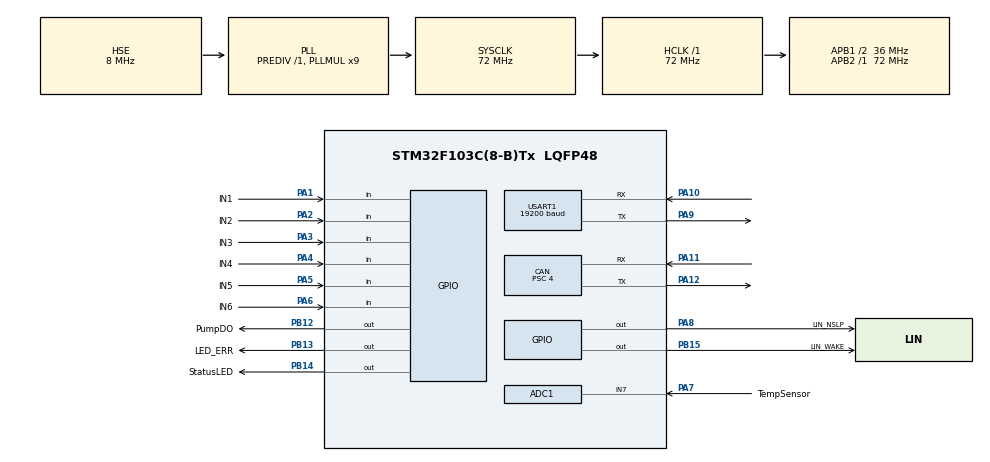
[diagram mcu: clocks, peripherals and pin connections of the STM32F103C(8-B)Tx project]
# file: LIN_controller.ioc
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ADC1.Channel-1\#ChannelRegularConversion=ADC_CHANNEL_7
ADC1.NbrOfConversion=1
ADC1.NbrOfConversionFlag=1
ADC1.Rank-1\#ChannelRegularConversion=1
ADC1.SamplingTime-1\#ChannelRegularConversion=ADC_SAMPLETIME_239CYCLES_5
ADC1.master=1
CAN.BS1=CAN_BS1_15TQ
CAN.BS2=CAN_BS2_2TQ
CAN.CalculateBaudRate=500000
CAN.CalculateTimeBit=2000
CAN.CalculateTimeQuantum=111.11111111111111
CAN.Prescaler=4
Mcu.Family=STM32F1
Mcu.Name=STM32F103C(8-B)Tx
Mcu.Package=LQFP48
NVIC.PriorityGroup=NVIC_PRIORITYGROUP_4
NVIC.USART1_IRQn=true\:0\:0\:false\:false\:true\:true\:true\:true
PA1.GPIO_Label=IN1
PA1.Signal=GPIO_Input
PA10.Mode=LIN
PA10.Signal=USART1_RX
PA11.Mode=CAN_Activate
PA11.Signal=CAN_RX
PA12.Mode=CAN_Activate
PA12.Signal=CAN_TX
PA13.Mode=Serial_Wire
PA13.Signal=SYS_JTMS-SWDIO
PA14.Mode=Serial_Wire
PA14.Signal=SYS_JTCK-SWCLK
PA2.GPIO_Label=IN2
PA2.Signal=GPIO_Input
PA3.GPIO_Label=IN3
PA3.Signal=GPIO_Input
PA4.GPIO_Label=IN4
PA4.Signal=GPIO_Input
PA5.GPIO_Label=IN5
PA5.Signal=GPIO_Input
PA6.GPIO_Label=IN6
PA6.Signal=GPIO_Input
PA7.GPIO_Label=TempSensor
PA7.Signal=ADCx_IN7
PA8.GPIO_Label=LIN_NSLP
PA8.Signal=GPIO_Output
PA9.Mode=LIN
PA9.Signal=USART1_TX
PB12.GPIO_Label=PumpDO
PB12.Signal=GPIO_Output
PB13.GPIO_Label=LED_ERR
PB13.Signal=GPIO_Output
PB14.GPIO_Label=StatusLED
PB14.Signal=GPIO_Output
PB15.GPIO_Label=LIN_WAKE
PB15.Signal=GPIO_Output
PD0-OSC_IN.Mode=HSE-External-Oscillator
PD0-OSC_IN.Signal=RCC_OSC_IN
PD1-OSC_OUT.Mode=HSE-External-Oscillator
PD1-OSC_OUT.Signal=RCC_OSC_OUT
ProjectManager.HeapSize=0x200
ProjectManager.StackSize=0x400
ProjectManager.TargetToolchain=STM32CubeIDE
RCC.ADCPresc=RCC_ADCPCLK2_DIV6
RCC.AHBFreq_Value=72000000
RCC.APB1CLKDivider=RCC_HCLK_DIV2
RCC.APB1Freq_Value=36000000
RCC.APB1TimFreq_Value=72000000
RCC.APB2Freq_Value=72000000
RCC.APB2TimFreq_Value=72000000
RCC.HCLKFreq_Value=72000000
RCC.PLLMUL=RCC_PLL_MUL9
RCC.PLLSourceVirtual=RCC_PLLSOURCE_HSE
RCC.SYSCLKFreq_VALUE=72000000
RCC.SYSCLKSource=RCC_SYSCLKSOURCE_PLLCLK
RCC.USBFreq_Value=72000000
SH.ADCx_IN7.0=ADC1_IN7,IN7
USART1.BaudRate=19200
USART1.VirtualMode=VM_ASYNC
board=custom

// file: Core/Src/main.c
/* USER CODE BEGIN Header */
/**
  ******************************************************************************
  * @file           : main.c
  * @brief          : Main program body
  ******************************************************************************
  * @attention
  *
  * Copyright (c) 2026 STMicroelectronics.
  * All rights reserved.
  *
  * This software is licensed under terms that can be found in the LICENSE file
  * in the root directory of this software component.
  * If no LICENSE file comes with this software, it is provided AS-IS.
  *
  ******************************************************************************
  */
/* USER CODE END Header */
#include "main.h"

/* USER CODE BEGIN Includes */
#include "app_io.h"
#include "ntc_sensor.h"
#include "ptc_heater.h"
#include "temp_controller.h"
/* USER CODE END Includes */

ADC_HandleTypeDef hadc1;

CAN_HandleTypeDef hcan;

UART_HandleTypeDef huart1;

void SystemClock_Config(void);
static void MX_GPIO_Init(void);
static void MX_ADC1_Init(void);
static void MX_CAN_Init(void);
static void MX_USART1_UART_Init(void);

int main(void)
{

  /* MCU Configuration--------------------------------------------------------*/

  /* Reset of all peripherals, Initializes the Flash interface and the Systick. */
  HAL_Init();

  /* Configure the system clock */
  SystemClock_Config();

  /* Initialize all configured peripherals */
  MX_GPIO_Init();
  MX_ADC1_Init();
  MX_CAN_Init();
  MX_USART1_UART_Init();
  /* USER CODE BEGIN 2 */
  IO_Init();
  NTC_Init(&hadc1);
  PTC_Init(&huart1);
  TempCtrl_Init();

  // Activeer de RXNE interrupt (elke byte genereert nu een interrupt)
  __HAL_UART_ENABLE_IT(&huart1, UART_IT_RXNE);
  /* USER CODE END 2 */

  /* Infinite loop */
  /* USER CODE BEGIN WHILE */
  while (1)
  {
	  IO_Update();       // Leest IN1..6, stuurt Pomp en LEDs aan
	  NTC_Update();      // Leest ADC1 en berekent NTC temperatuur
	  PTC_Update();      // Verstuurt en ontvangt LIN frames (elke 50ms)
	  TempCtrl_Update(); // P-Regelaar en systeemlogica (elke 100ms)
    /* USER CODE END WHILE */

  }
}

void SystemClock_Config(void)
{
  RCC_OscInitTypeDef RCC_OscInitStruct = {0};
  RCC_ClkInitTypeDef RCC_ClkInitStruct = {0};
  RCC_PeriphCLKInitTypeDef PeriphClkInit = {0};

  /** Initializes the RCC Oscillators according to the specified parameters
  * in the RCC_OscInitTypeDef structure.
  */
  RCC_OscInitStruct.OscillatorType = RCC_OSCILLATORTYPE_HSE;
  RCC_OscInitStruct.HSEState = RCC_HSE_ON;
  RCC_OscInitStruct.HSEPredivValue = RCC_HSE_PREDIV_DIV1;
  RCC_OscInitStruct.HSIState = RCC_HSI_ON;
  RCC_OscInitStruct.PLL.PLLState = RCC_PLL_ON;
  RCC_OscInitStruct.PLL.PLLSource = RCC_PLLSOURCE_HSE;
  RCC_OscInitStruct.PLL.PLLMUL = RCC_PLL_MUL9;
  if (HAL_RCC_OscConfig(&RCC_OscInitStruct) != HAL_OK)
  {
    Error_Handler();
  }

  /** Initializes the CPU, AHB and APB buses clocks
  */
  RCC_ClkInitStruct.ClockType = RCC_CLOCKTYPE_HCLK|RCC_CLOCKTYPE_SYSCLK
                              |RCC_CLOCKTYPE_PCLK1|RCC_CLOCKTYPE_PCLK2;
  RCC_ClkInitStruct.SYSCLKSource = RCC_SYSCLKSOURCE_PLLCLK;
  RCC_ClkInitStruct.AHBCLKDivider = RCC_SYSCLK_DIV1;
  RCC_ClkInitStruct.APB1CLKDivider = RCC_HCLK_DIV2;
  RCC_ClkInitStruct.APB2CLKDivider = RCC_HCLK_DIV1;

  if (HAL_RCC_ClockConfig(&RCC_ClkInitStruct, FLASH_LATENCY_2) != HAL_OK)
  {
    Error_Handler();
  }
  PeriphClkInit.PeriphClockSelection = RCC_PERIPHCLK_ADC;
  PeriphClkInit.AdcClockSelection = RCC_ADCPCLK2_DIV6;
  if (HAL_RCCEx_PeriphCLKConfig(&PeriphClkInit) != HAL_OK)
  {
    Error_Handler();
  }
}

static void MX_ADC1_Init(void)
{

  ADC_ChannelConfTypeDef sConfig = {0};

  /** Common config
  */
  hadc1.Instance = ADC1;
  hadc1.Init.ScanConvMode = ADC_SCAN_DISABLE;
  hadc1.Init.ContinuousConvMode = DISABLE;
  hadc1.Init.DiscontinuousConvMode = DISABLE;
  hadc1.Init.ExternalTrigConv = ADC_SOFTWARE_START;
  hadc1.Init.DataAlign = ADC_DATAALIGN_RIGHT;
  hadc1.Init.NbrOfConversion = 1;
  if (HAL_ADC_Init(&hadc1) != HAL_OK)
  {
    Error_Handler();
  }

  /** Configure Regular Channel
  */
  sConfig.Channel = ADC_CHANNEL_7;
  sConfig.Rank = ADC_REGULAR_RANK_1;
  sConfig.SamplingTime = ADC_SAMPLETIME_239CYCLES_5;
  if (HAL_ADC_ConfigChannel(&hadc1, &sConfig) != HAL_OK)
  {
    Error_Handler();
  }

}

static void MX_CAN_Init(void)
{

  hcan.Instance = CAN1;
  hcan.Init.Prescaler = 4;
  hcan.Init.Mode = CAN_MODE_NORMAL;
  hcan.Init.SyncJumpWidth = CAN_SJW_1TQ;
  hcan.Init.TimeSeg1 = CAN_BS1_15TQ;
  hcan.Init.TimeSeg2 = CAN_BS2_2TQ;
  hcan.Init.TimeTriggeredMode = DISABLE;
  hcan.Init.AutoBusOff = DISABLE;
  hcan.Init.AutoWakeUp = DISABLE;
  hcan.Init.AutoRetransmission = DISABLE;
  hcan.Init.ReceiveFifoLocked = DISABLE;
  hcan.Init.TransmitFifoPriority = DISABLE;
  if (HAL_CAN_Init(&hcan) != HAL_OK)
  {
    Error_Handler();
  }

}

static void MX_USART1_UART_Init(void)
{

  huart1.Instance = USART1;
  huart1.Init.BaudRate = 19200;
  huart1.Init.WordLength = UART_WORDLENGTH_8B;
  huart1.Init.StopBits = UART_STOPBITS_1;
  huart1.Init.Parity = UART_PARITY_NONE;
  huart1.Init.Mode = UART_MODE_TX_RX;
  huart1.Init.HwFlowCtl = UART_HWCONTROL_NONE;
  if (HAL_LIN_Init(&huart1, UART_LINBREAKDETECTLENGTH_10B) != HAL_OK)
  {
    Error_Handler();
  }

}

static void MX_GPIO_Init(void)
{
  GPIO_InitTypeDef GPIO_InitStruct = {0};

  /* GPIO Ports Clock Enable */
  __HAL_RCC_GPIOD_CLK_ENABLE();
  __HAL_RCC_GPIOA_CLK_ENABLE();
  __HAL_RCC_GPIOB_CLK_ENABLE();

  /*Configure GPIO pin Output Level */
  HAL_GPIO_WritePin(GPIOB, PumpDO_Pin|LED_ERR_Pin|StatusLED_Pin|LIN_WAKE_Pin, GPIO_PIN_RESET);

  /*Configure GPIO pin Output Level */
  HAL_GPIO_WritePin(LIN_NSLP_GPIO_Port, LIN_NSLP_Pin, GPIO_PIN_RESET);

  /*Configure GPIO pins : IN1_Pin IN2_Pin IN3_Pin IN4_Pin
                           IN5_Pin IN6_Pin */
  GPIO_InitStruct.Pin = IN1_Pin|IN2_Pin|IN3_Pin|IN4_Pin
                          |IN5_Pin|IN6_Pin;
  GPIO_InitStruct.Mode = GPIO_MODE_INPUT;
  GPIO_InitStruct.Pull = GPIO_NOPULL;
  HAL_GPIO_Init(GPIOA, &GPIO_InitStruct);

  /*Configure GPIO pins : PumpDO_Pin LED_ERR_Pin StatusLED_Pin LIN_WAKE_Pin */
  GPIO_InitStruct.Pin = PumpDO_Pin|LED_ERR_Pin|StatusLED_Pin|LIN_WAKE_Pin;
  GPIO_InitStruct.Mode = GPIO_MODE_OUTPUT_PP;
  GPIO_InitStruct.Pull = GPIO_NOPULL;
  GPIO_InitStruct.Speed = GPIO_SPEED_FREQ_LOW;
  HAL_GPIO_Init(GPIOB, &GPIO_InitStruct);

  /*Configure GPIO pin : LIN_NSLP_Pin */
  GPIO_InitStruct.Pin = LIN_NSLP_Pin;
  GPIO_InitStruct.Mode = GPIO_MODE_OUTPUT_PP;
  GPIO_InitStruct.Pull = GPIO_NOPULL;
  GPIO_InitStruct.Speed = GPIO_SPEED_FREQ_LOW;
  HAL_GPIO_Init(LIN_NSLP_GPIO_Port, &GPIO_InitStruct);

}

/* USER CODE BEGIN 4 */
/* Krijg de actuele PTC buffer index en status (gedefinieerd in ptc_heater.c) */
extern void PTC_ProcessByte(uint8_t byte);

/* We overschrijven de standaard HAL IRQ handler voor USART1 om HAL-errors te omzeilen */
void USART1_IRQHandler(void)
{
    // Lees direct het statusregister en dataregister
    uint32_t isrflags   = USART1->SR;
    uint32_t cr1its     = USART1->CR1;
    uint32_t errorflags = (isrflags & (uint32_t)(USART_SR_PE | USART_SR_FE | USART_SR_ORE | USART_SR_NE));

    // Als we een error hebben (bijv. door de LIN Break), clear die dan direct
    if (errorflags != RESET) {
        // Leeglezen van DR cleart de error flags op de STM32F1
        volatile uint8_t tmpreg = (uint8_t)(USART1->DR & (uint8_t)0x00FF);
        (void)tmpreg;
        return; // Negeer de foute byte en wacht op de volgende
    }

    // Als we een schone byte hebben ontvangen:
    if (((isrflags & USART_SR_RXNE) != RESET) && ((cr1its & USART_CR1_RXNEIE) != RESET)) {
        uint8_t rx_byte = (uint8_t)(USART1->DR & (uint8_t)0x00FF);
        PTC_ProcessByte(rx_byte); // Stuur hem naar onze state machine
    }

    // Laat de HAL eventuele TX interrupts of andere zaken netjes afhandelen
    HAL_UART_IRQHandler(&huart1);
}
/* USER CODE END 4 */

void Error_Handler(void)
{
  __disable_irq();
  while (1)
  {
  }
}
